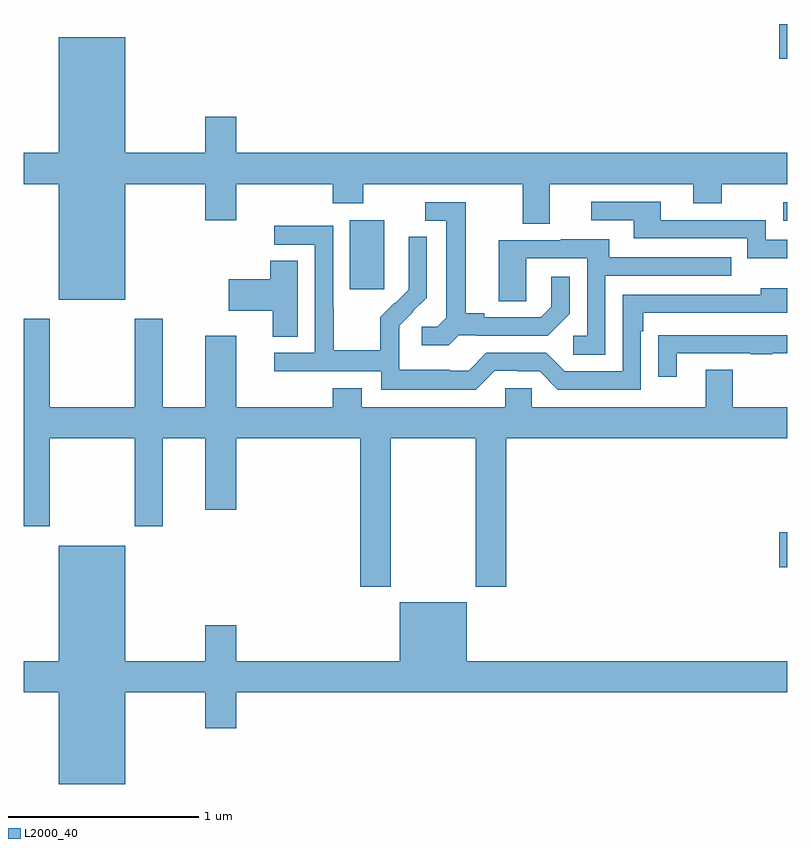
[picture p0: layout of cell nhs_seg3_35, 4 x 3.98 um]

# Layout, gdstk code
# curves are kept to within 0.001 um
import gdstk
lib = gdstk.Library(unit=1e-6, precision=1e-09)
def R(c, l, rs):  # rectangles x0, y0, x1, y1
    for r in rs: c.add(gdstk.rectangle(r[:2], r[2:], *l))
def P(c, l, *ps):  # polygons
    for p in ps: c.add(gdstk.Polygon(p, *l))
L2000_40 = (2000, 40)

nhs_seg3_35 = lib.new_cell('nhs_seg3_35')
R(nhs_seg3_35, L2000_40, [(114.96,737.537,115,737.72), (112.709,738.993,112.888,739.354), (114.981,739.353,115,739.449), (114.96,740.201,115,740.384)])
P(nhs_seg3_35, L2000_40, [(111.532,739.544),(111.95,739.544),(111.95,739.356),(112.114,739.356),(112.114,739.544),(112.619,739.544),(112.619,739.445),(112.779,739.445),(112.779,739.544),(113.615,739.544),(113.615,739.336),(113.755,739.336),(113.755,739.544),(114.509,739.544),(114.509,739.445),(114.657,739.445),(114.657,739.544),(115,739.544),(115,739.708),(112.114,739.708),(112.114,739.897),(111.95,739.897),(111.95,739.708),(111.532,739.708),(111.532,740.314),(111.182,740.314),(111.182,739.708),(111,739.708),(111,739.544),(111.182,739.544),(111.182,738.938),(111.532,738.938)],
  [(115,739.254),(114.888,739.254),(114.888,739.356),(114.337,739.356),(114.337,739.452),(113.973,739.452),(113.973,739.356),(114.197,739.356),(114.197,739.26),(114.792,739.26),(114.792,739.157),(115,739.157)],
  [(113.28,738.753),(113.374,738.753),(113.374,738.75),(113.746,738.75),(113.862,738.866),(113.862,739.06),(113.765,739.06),(113.765,738.903),(113.708,738.846),(113.413,738.846),(113.413,738.869),(113.317,738.869),(113.317,739.449),(113.103,739.449),(113.103,739.353),(113.213,739.353),(113.213,738.845),(113.166,738.798),(113.085,738.798),(113.085,738.701),(113.228,738.701)],
  [(113.469,738.567),(113.585,738.567),(113.585,738.564),(113.703,738.564),(113.799,738.468),(114.234,738.468),(114.234,738.773),(114.247,738.773),(114.247,738.87),(115,738.87),(115,739),(114.863,739),(114.863,738.966),(114.138,738.966),(114.138,738.564),(113.835,738.564),(113.739,738.66),(113.424,738.66),(113.331,738.567),(113.231,738.567),(113.231,738.571),(112.968,738.571),(112.968,738.705),(112.966,738.705),(112.966,738.802),(113.112,738.95),(113.112,739.268),(113.016,739.268),(113.016,739.114),(113.018,739.114),(113.018,738.992),(112.947,738.921),(112.944,738.924),(112.867,738.847),(112.867,738.673),(112.623,738.673),(112.623,738.896),(112.62,738.896),(112.62,739.326),(112.311,739.326),(112.311,739.227),(112.524,739.227),(112.524,738.66),(112.311,738.66),(112.311,738.564),(112.872,738.564),(112.872,738.467),(113.369,738.467)],
  [(114.048,739.065),(114.707,739.065),(114.707,739.161),(114.067,739.161),(114.067,739.255),(113.813,739.255),(113.813,739.251),(113.489,739.251),(113.489,738.931),(113.634,738.931),(113.634,739.155),(113.952,739.155),(113.952,738.75),(113.88,738.75),(113.88,738.649),(114.048,738.649)],
  [(112.435,739.142),(112.292,739.142),(112.292,739.047),(112.074,739.047),(112.074,738.881),(112.304,738.881),(112.304,738.745),(112.435,738.745)],
  [(112.923,738.212),(113.368,738.212),(113.368,737.433),(113.528,737.433),(113.528,738.212),(115,738.212),(115,738.376),(114.715,738.376),(114.715,738.571),(114.575,738.571),(114.575,738.376),(113.661,738.376),(113.661,738.474),(113.523,738.474),(113.523,738.376),(112.771,738.376),(112.771,738.475),(112.619,738.475),(112.619,738.376),(112.114,738.376),(112.114,738.751),(111.95,738.751),(111.95,738.376),(111.727,738.376),(111.727,738.838),(111.58,738.838),(111.58,738.376),(111.135,738.376),(111.135,738.838),(111,738.838),(111,737.751),(111.135,737.751),(111.135,738.212),(111.58,738.212),(111.58,737.751),(111.727,737.751),(111.727,738.212),(111.95,738.212),(111.95,737.838),(112.114,737.838),(112.114,738.212),(112.763,738.212),(112.763,737.433),(112.923,737.433)],
  [(114.421,738.657),(114.811,738.657),(114.811,738.652),(114.923,738.652),(114.923,738.657),(115,738.657),(115,738.753),(114.427,738.753),(114.427,738.752),(114.325,738.752),(114.325,738.534),(114.421,738.534)],
  [(111.532,736.88),(111.95,736.88),(111.95,736.692),(112.114,736.692),(112.114,736.88),(115,736.88),(115,737.044),(113.32,737.044),(113.32,737.353),(112.97,737.353),(112.97,737.044),(112.114,737.044),(112.114,737.233),(111.95,737.233),(111.95,737.044),(111.532,737.044),(111.532,737.65),(111.182,737.65),(111.182,737.044),(111,737.044),(111,736.88),(111.182,736.88),(111.182,736.4),(111.532,736.4)])

lib.write_gds('nhs_seg3_35.gds')
